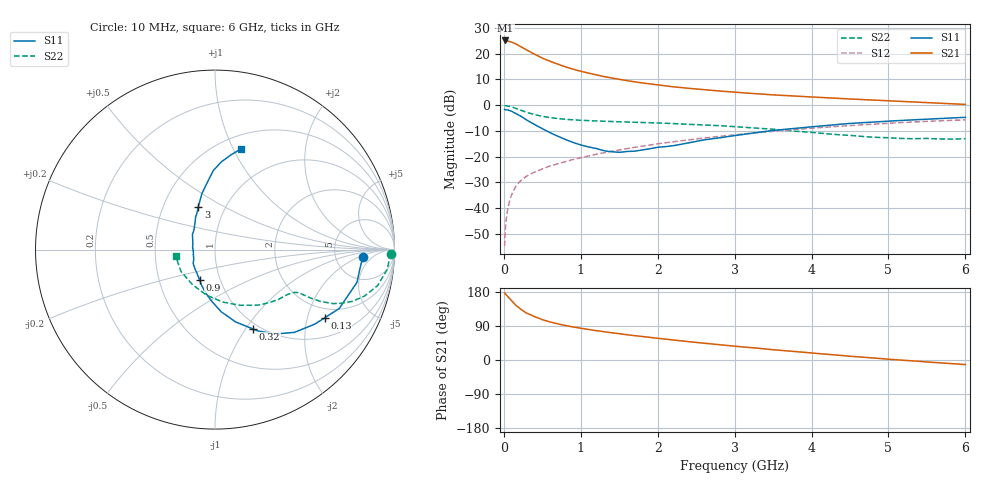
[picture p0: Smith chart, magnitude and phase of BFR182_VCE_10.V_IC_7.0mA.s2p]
! Infineon Technologies  Discrete & RF Semiconductors
! BFR182
! VCE =  10. V,  IC =  7.0 mA
! Common Emitter S-Parameters:  Nov 2015
# GHz  S  MA  R  50
!  f  S11  S21  S12  S22
! GHz  MAG  ANG  MAG  ANG  MAG  ANG  MAG  ANG
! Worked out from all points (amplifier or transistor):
!   210 points, 10 MHz to 6 GHz, reference 50 ohm
!   highest |S21| = 25.2 dB at 20 MHz (marker M1)
!   |S21| within 3 dB of that: start of sweep to 254.6 MHz
!   unconditionally stable (mu >= 1): 978.3 MHz to 2.954 GHz
!   at 185 MHz: K = 0.40, MSG = 26.9 dB, |S12| = -30.5 dB
!   at 1.52 GHz: K = 1.05, MAG = 12.3 dB, |S12| = -17.3 dB
!   at 6 GHz: K = 0.89, MSG = 3.0 dB, |S12| = -5.7 dB
!   S11 on the Smith chart (normalised r, x): 10 MHz: 10, -2; 130 MHz: 1.63, -2.57; 320 MHz: 0.93, -1.08; 900 MHz: 0.80, -0.28; 3 GHz: 0.75, +0.38; 6 GHz: 0.63, +1.07
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0.01  0.8271 -2.7  18.16 176.8  0.0018 85.4  0.9819 -1.3
0.02  0.8177 -5.5  18.19 174.3  0.0038 82.2  0.9742 -2.7
0.05  0.8117 -13.0  17.91 167.4  0.0094 83.4  0.9658 -6.6
0.1  0.766 -25.4  16.91 156.4  0.0179 75.6  0.9286 -12.4
0.13  0.7199 -31.9  16.16 149.9  0.0223 72.5  0.8937 -15.3
0.15  0.6948 -36.6  15.78 145.2  0.0253 71.1  0.8718 -17.3
0.2  0.6392 -46.2  14.33 137.1  0.0317 68.8  0.8183 -20.6
0.26  0.5613 -56.3  12.75 128.4  0.038 66.0  0.7596 -23.2
0.32  0.4906 -64.4  11.39 121.7  0.0434 64.6  0.7086 -24.9
0.4  0.4191 -74.1  9.792 114.2  0.0498 63.8  0.6532 -26.2
0.5  0.3485 -84.2  8.215 106.4  0.0573 63.4  0.6065 -26.8
0.6  0.2912 -93.1  7.138 100.4  0.0655 63.5  0.5736 -27.0
0.7  0.2488 -101.7  6.287 95.3  0.0722 64.0  0.5483 -27.1
0.9  0.1877 -117.3  5.005 87.1  0.0876 64.5  0.5179 -27.5
1.02  0.1651 -128.2  4.492 83.1  0.0961 64.4  0.5065 -28.1
1.4  0.1244 -166.3  3.374 71.9  0.1262 64.4  0.4808 -30.9
2.02  0.1523 145.0  2.453 56.9  0.1782 61.6  0.45 -38.0
3  0.2558 111.4  1.788 36.4  0.2648 54.3  0.3828 -54.0
3.1  0.2685 109.4  1.744 34.7  0.2737 53.2  0.3731 -56.1
4.1  0.391 95.2  1.418 16.8  0.3648 43.1  0.286 -84.8
5.1  0.4984 84.7  1.202 0.7  0.4527 31.5  0.2275 -127.3
6  0.5803 75.5  1.034 -12.1  0.5179 19.5  0.2221 -171.0
